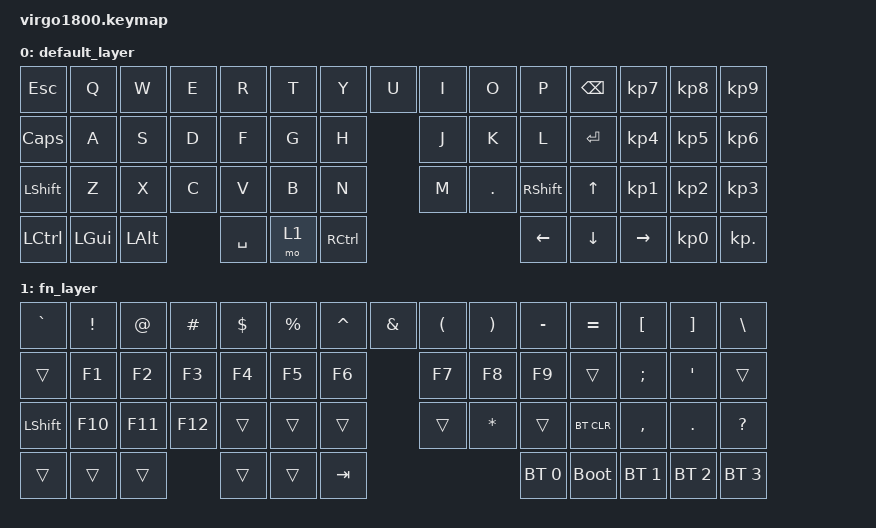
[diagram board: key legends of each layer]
/*
 * Copyright (c) 2020 The ZMK Contributors
 *
 * SPDX-License-Identifier: MIT
 */

#include <behaviors.dtsi>
#include <dt-bindings/zmk/keys.h>
#include <dt-bindings/zmk/rgb.h>
#include <dt-bindings/zmk/bt.h>
#include <dt-bindings/zmk/outputs.h>
#include <dt-bindings/zmk/ext_power.h>

/ {
	keymap0: keymap {
		compatible = "zmk,keymap";

		default_layer {
// -----------------------------------------------------------------------------------------------------
// | ESC  |  Q  |  W  |  E  |  R  |  T  |  Y  |  U  |  I  |  O  |  P  |BKSP|        7  |  8  |  9  |
// | CAPS  |  A  |  S  |  D  |  F  |  G  |  H  |  J  |  K  |  L  |    ENTER    |    4  |  5  |  6  |
// |  SHIFT   |  Z  |  X  |  C  |  V  |  B  |  N  |  M  |  / |  SHIFT  |    UP  |  1  |  2  |  3  |
// |  CTL | WIN |  ALT  |    SPACE     |       SPACE      | fn |    LEFT |  DOWN |RIGHT|  0  |  .  |
// -----------------------------------------------------------------------------------------------------
			bindings = <
    &kp ESC  &kp Q  &kp W  &kp E  &kp R  &kp T  &kp Y  &kp U  &kp I  &kp O  &kp P  &kp BSPC       &kp KP_N7    &kp KP_N8    &kp KP_N9
	&kp CLCK  &kp A  &kp S  &kp D  &kp F  &kp G  &kp H  &kp J  &kp K  &kp L  &kp RET              &kp KP_N4    &kp KP_N5    &kp KP_N6
	&kp LSHFT   &kp Z  &kp X  &kp C  &kp V  &kp B  &kp N  &kp M  &kp DOT  &kp RSHFT      &kp UP   &kp KP_N1    &kp KP_N2    &kp KP_N3 
	&kp LCTRL  &kp LGUI  &kp LALT      &kp SPACE       &mo 1    &kp RCTRL     &kp LEFT  &kp DOWN  &kp RIGHT    &kp KP_N0    &kp KP_DOT
			>;
		};

		fn_layer {
// ---------------------------------------------------------------------------------------------------------
// | ~  |  1   |  2  |  3  |  R  |  T  |  Y  |  U  |  I  |  -  |  =  |BKSP |       NUM  | BT_CLR   |  BOOT |
// | TAB  |  4  |  5  |  6   |  F  |  G  |  [  |  ]  |  ;  |  '  |    "|"  |        4   |  5   |        6  |
// |  SHIFT   |  7  |  8  |  9  |  V  |  B  |  N  |   ,  |  .  |  SHIFT  |    UP  | BT1 |  BT2 |      BT3  |
// |  CTL | WIN |  ALT  |     0      |       OUT_TOG      | fn |    LEFT |  DOWN  |RIGHT|  0   |        .  |
// ---------------------------------------------------------------------------------------------------------
			bindings = <
    &kp GRAVE  &kp EXCL  &kp AT   &kp POUND  &kp DLLR  &kp PRCNT  &kp CARET   &kp AMPS   &kp LPAR   &kp RPAR    &kp MINUS   &kp EQUAL        &kp LBKT        &kp RBKT        &kp BSLH
	&trans     &kp F1    &kp F2   &kp F3     &kp F4    &kp F5     &kp F6      &kp F7     &kp F8     &kp F9             &trans                &kp SEMI        &kp SQT         &trans
	&kp LSHFT  &kp F10   &kp F11  &kp F12    &trans    &trans     &trans      &trans     &kp STAR   &trans                   &bt BT_CLR      &kp COMMA       &kp DOT         &kp QUESTION
	&trans     &trans    &trans         &trans         &trans        &kp TAB                                 &bt BT_SEL 0    &bootloader     &bt BT_SEL 1    &bt BT_SEL 2    &bt BT_SEL 3
			>;	
		};
	};
};
